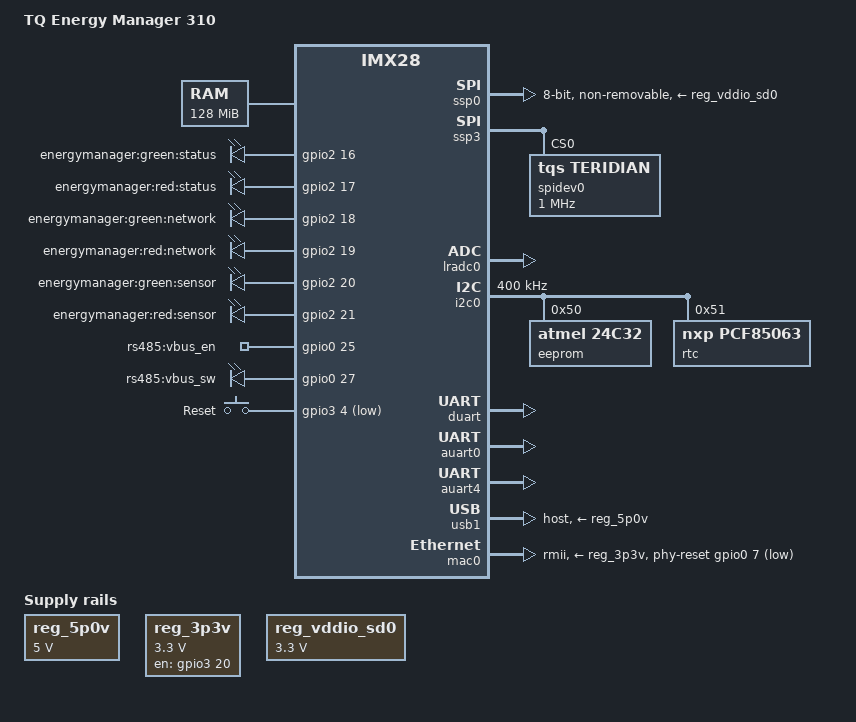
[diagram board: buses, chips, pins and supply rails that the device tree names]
/*
 * Copyright (C) 2015 Jeremias Schneider <jeremias.schneider@tq-group.com>
 *
 * The code contained herein is licensed under the GNU General Public
 * License. You may obtain a copy of the GNU General Public License
 * Version 2 or later at the following locations:
 *
 * http://www.opensource.org/licenses/gpl-license.html
 * http://www.gnu.org/copyleft/gpl.html
 */

/dts-v1/;

#include <dt-bindings/gpio/gpio.h>
#include <dt-bindings/input/input.h>
#include "imx28.dtsi"

/ {
	model = "TQ Energy Manager 310";
	compatible = "tqs,energymanager310", "fsl,imx28";

	aliases {
		spi1 = &ssp3;
	};

	memory {
		reg = <0x40000000 0x08000000>;
	};

	apb@80000000 {
		apbh@80000000 {
			ssp0: ssp@80010000 {
				compatible = "fsl,imx28-mmc";
				pinctrl-names = "default";
				pinctrl-0 = <&mmc0_8bit_pins_a>;
				bus-width = <8>;
				non-removable;
				tqs,dsr = <0x0100>;
				vmmc-supply = <&reg_vddio_sd0>;
				status = "okay";
			};

			ssp3: ssp@80016000 {
				compatible = "fsl,imx28-spi";
				pinctrl-names = "default";
				pinctrl-0 = <&spi3_pins_c>;
				status = "okay";

				spidev0: spi@0 {
					compatible = "tqs,teridian";
					reg = <0>;
					spi-max-frequency = <1000000>;
				};
			};

			pinctrl@80018000 {
				hog_pins_a: hog-gpios@0 {
					reg = <0>;
					fsl,pinmux-ids = <
						MX28_PAD_SAIF0_MCLK__GPIO_3_20

						MX28_PAD_GPMI_WRN__GPIO_0_25
						MX28_PAD_GPMI_CLE__GPIO_0_27
					>;
					fsl,drive-strength = <MXS_DRIVE_8mA>;
					fsl,voltage = <MXS_VOLTAGE_HIGH>;
					fsl,pull-up = <MXS_PULL_DISABLE>;
				};

				led_pins_a: led_gpio@0 {
					reg = <0>;
					fsl,pinmux-ids = <
						MX28_PAD_SSP2_SCK__GPIO_2_16
						MX28_PAD_SSP2_MOSI__GPIO_2_17
						MX28_PAD_SSP2_MISO__GPIO_2_18
						MX28_PAD_SSP2_SS0__GPIO_2_19
						MX28_PAD_SSP2_SS1__GPIO_2_20
						MX28_PAD_SSP2_SS2__GPIO_2_21
					>;
					fsl,drive-strength = <MXS_DRIVE_4mA>;
					fsl,voltage = <MXS_VOLTAGE_HIGH>;
					fsl,pull-up = <MXS_PULL_DISABLE>;
				};

				spi3_pins_c: teridian@0 {
					reg = <0>;
					fsl,pinmux-ids = <
						MX28_PAD_GPMI_CE0N__SSP3_D0
						MX28_PAD_GPMI_CE1N__SSP3_D3
						MX28_PAD_GPMI_RDN__SSP3_SCK
						MX28_PAD_GPMI_RESETN__SSP3_CMD

						MX28_PAD_AUART1_TX__GPIO_3_5
					>;
					fsl,drive-strength = <MXS_DRIVE_8mA>;
					fsl,voltage = <MXS_VOLTAGE_HIGH>;
					fsl,pull-up = <MXS_PULL_DISABLE>;
				};

				auart0_3pins_a: auart0-3pins@0 {
					reg = <0>;
					fsl,pinmux-ids = <
						MX28_PAD_AUART0_RX__AUART0_RX
						MX28_PAD_AUART0_TX__AUART0_TX
						MX28_PAD_AUART0_RTS__AUART0_RTS
					>;
					fsl,drive-strength = <MXS_DRIVE_4mA>;
					fsl,voltage = <MXS_VOLTAGE_HIGH>;
					fsl,pull-up = <MXS_PULL_DISABLE>;
				};

				auart4_3pins_a: auart4-3pins@0 {
					reg = <0>;
					fsl,pinmux-ids = <
						MX28_PAD_SAIF0_BITCLK__AUART4_RX
						MX28_PAD_SAIF0_SDATA0__AUART4_TX
						MX28_PAD_SAIF0_LRCLK__AUART4_RTS
					>;
					fsl,drive-strength = <MXS_DRIVE_4mA>;
					fsl,voltage = <MXS_VOLTAGE_HIGH>;
					fsl,pull-up = <MXS_PULL_DISABLE>;
				};

				mac0_pins_a: mac0@0 {
					reg = <0>;
					fsl,pinmux-ids = <
						MX28_PAD_ENET0_MDC__GPIO_4_0  /* ENET.MDC */
						MX28_PAD_ENET0_MDIO__GPIO_4_1 /* ENET.MDIO */
						MX28_PAD_GPMI_D06__GPIO_0_6   /* ENET.INT# */
						MX28_PAD_ENET0_RX_EN__ENET0_RX_EN
						MX28_PAD_ENET0_RXD0__ENET0_RXD0
						MX28_PAD_ENET0_RXD1__ENET0_RXD1
						MX28_PAD_ENET0_TX_EN__ENET0_TX_EN
						MX28_PAD_ENET0_TXD0__ENET0_TXD0
						MX28_PAD_ENET0_TXD1__ENET0_TXD1
						MX28_PAD_ENET_CLK__CLKCTRL_ENET
					>;
					fsl,drive-strength = <MXS_DRIVE_8mA>;
					fsl,voltage = <MXS_VOLTAGE_HIGH>;
					fsl,pull-up = <MXS_PULL_ENABLE>;
				};
			};
		};

		apbx@80040000 {
			lradc0: lradc@80050000 {
				status = "okay";
			};

			i2c0: i2c@80058000 {
				pinctrl-names = "default";
				pinctrl-0 = <&i2c0_pins_a>;
				clock-frequency = <400000>;
				status = "okay";

				eeprom@50 {
					compatible = "atmel,24c32";
					reg = <0x50>;
					read-only;
				};

				rtc@51 {
					compatible = "nxp,pcf85063";
					reg = <0x51>;
				};
			};

			duart: serial@80074000 {
				pinctrl-names = "default";
				pinctrl-0 = <&duart_pins_a>;
				status = "okay";
			};

			auart0: serial@8006a000 {
				pinctrl-names = "default";
				pinctrl-0 = <&auart0_3pins_a>;
				fsl,rs485-uart;
				status = "okay";
			};

			auart4: serial@80072000 {
				pinctrl-names = "default";
				pinctrl-0 = <&auart4_3pins_a>;
				fsl,rs485-uart;
				status = "okay";
			};

			usbphy1: usbphy@8007e000 {
				status = "okay";
			};
		};
	};

	ahb@80080000 {
		usb1: usb@80090000 {
			vbus-supply = <&reg_5p0v>;
			disable-over-current;
			dr_mode = "host";
			status = "okay";
		};

		mac0: ethernet@800f0000 {
			phy-mode = "rmii";
			pinctrl-names = "default";
			pinctrl-0 = <&mac0_pins_a>;
			phy-supply = <&reg_3p3v>;
			phy-reset-gpios = <&gpio0 7 0>;
			phy-reset-duration = <100>;
			clocks = <&clks 57>, <&clks 57>;
			clock-names = "ipg", "ahb";
			fixed-link = <1 1 100 0 0>;
			status = "okay";
		};
	};

	regulators {
		compatible = "simple-bus";

		reg_5p0v: 5p0v {
			compatible = "regulator-fixed";
			regulator-name = "5P0V";
			regulator-min-microvolt = <5000000>;
			regulator-max-microvolt = <5000000>;
			regulator-always-on;
		};

		reg_3p3v: 3p3v {
			compatible = "regulator-fixed";
			regulator-name = "3P3V";
			regulator-min-microvolt = <3300000>;
			regulator-max-microvolt = <3300000>;
			regulator-always-on;
			gpio = <&gpio3 20 0>;
			enable-active-high;
		};

		reg_vddio_sd0: vddio-sd0 {
			compatible = "regulator-fixed";
			regulator-name = "vddio-sd0";
			regulator-min-microvolt = <3300000>;
			regulator-max-microvolt = <3300000>;
			regulator-always-on;
		};
	};

	leds {
		compatible = "gpio-leds";
		pinctrl-names = "default";
		pinctrl-0 = <&led_pins_a>;

		status_green {
			label = "energymanager:green:status";
			gpios = <&gpio2 16 GPIO_ACTIVE_HIGH>;
			linux,default-trigger = "timer";
		};

		status_red {
			label = "energymanager:red:status";
			gpios = <&gpio2 17 GPIO_ACTIVE_HIGH>;
		};

		network_green {
			label = "energymanager:green:network";
			gpios = <&gpio2 18 GPIO_ACTIVE_HIGH>;
		};

		network_red {
			label = "energymanager:red:network";
			gpios = <&gpio2 19 GPIO_ACTIVE_HIGH>;
		};

		sensor_green {
			label = "energymanager:green:sensor";
			gpios = <&gpio2 20 GPIO_ACTIVE_HIGH>;
		};

		sensor_red {
			label = "energymanager:red:sensor";
			gpios = <&gpio2 21 GPIO_ACTIVE_HIGH>;
		};

		vbus_en {
			label = "rs485:vbus_en";
			gpios = <&gpio0 25 GPIO_ACTIVE_HIGH>;
			default-state = "off";
		};

		vbus_sw {
			label = "rs485:vbus_sw";
			gpios = <&gpio0 27 GPIO_ACTIVE_HIGH>;
			default-state = "off";
		};
	};

	buttons {
		compatible = "gpio-keys";
		#address-cells = <1>;
		#size-cells = <0>;

		reset {
			label = "Reset";
			gpios = <&gpio3 4 GPIO_ACTIVE_LOW>;
			linux,code = <KEY_RESTART>;
		};
	};
};
